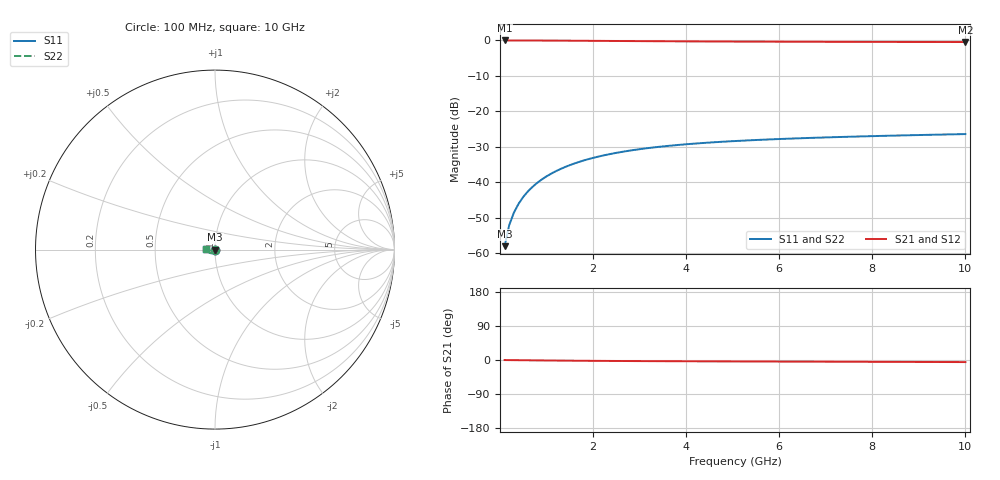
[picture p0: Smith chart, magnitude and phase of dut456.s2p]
! Touchstone file exported from HFSS 2024.1.0
!  File:  C:/UserFiles/LocalFiles/RDL_TSV_Batchsim/temp_TSV1_456_1779696793.aedt
!  Generated:  04:21:04 PM May 25, 2026
!  Design:  TSV1
!  Project:  temp_TSV1_456_1779696793
!  Setup:  Setup1
!  Solution:  Sweep
! Variables:
!  dtsv = 9.71um
!  hbump = 3um
!  htsv = 86.04um
!  lrdl = 252.1521522um
!  p = 40
!  p1 = 50.74um
!  t = 500um
!  trdl = 3um
!  wrdl = 24.89489489um
# GHz S MA R 50.000000
! Terminal data exported
! Port[1] = TSV22_T1
! Port[2] = TSV22_T2
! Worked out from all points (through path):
!   100 points, 100 MHz to 10 GHz, reference 50 ohm
!   highest |S21| = 0.00 dB at 100 MHz (marker M1); lowest = -0.4 dB at 10 GHz (marker M2)
!   lowest |S11| = -58.1 dB at 100 MHz (marker M3), VSWR 1.00, Z = 50 - j0.124 ohm
!   |S11| at or under -10 dB: start of sweep to end of sweep
!   |S22| runs from -58.1 to -26.4 dB; largest |S21 - S12| = 4e-15
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0.1  0.00125 -84.4  0.9998 -0.1  0.9998 -0.1  0.00125 -84.4
! Gamma 0 0 0 0
! Port Impedance 50 0 50 0
0.2  0.002487 -89.8  0.9997 -0.3  0.9997 -0.3  0.002487 -89.8
0.3  0.003725 -92.8  0.9994 -0.4  0.9994 -0.4  0.003725 -92.8
0.4  0.00496 -95.2  0.9992 -0.5  0.9992 -0.5  0.00496 -95.2
0.5  0.006186 -97.4  0.9988 -0.6  0.9988 -0.6  0.006186 -97.4
0.6  0.007399 -99.5  0.9983 -0.8  0.9983 -0.8  0.007399 -99.5
0.7  0.008598 -101.4  0.9978 -0.9  0.9978 -0.9  0.008598 -101.4
0.8  0.009778 -103.4  0.9973 -1.0  0.9973 -1.0  0.009778 -103.4
0.9  0.01094 -105.2  0.9967 -1.1  0.9967 -1.1  0.01094 -105.2
1.1  0.01319 -108.9  0.9953 -1.4  0.9953 -1.4  0.01319 -108.9
1.4  0.01638 -114.1  0.9929 -1.7  0.9929 -1.7  0.01638 -114.1
1.6  0.01837 -117.4  0.9911 -1.9  0.9911 -1.9  0.01837 -117.4
1.8  0.02025 -120.5  0.9893 -2.0  0.9893 -2.0  0.02025 -120.5
2.1  0.02285 -125.0  0.9865 -2.3  0.9865 -2.3  0.02285 -125.0
2.5  0.02593 -130.6  0.9828 -2.6  0.9828 -2.6  0.02593 -130.6
2.9  0.02861 -135.7  0.9792 -2.8  0.9792 -2.8  0.02861 -135.7
3.4  0.03145 -141.5  0.975 -3.1  0.975 -3.1  0.03145 -141.5
4.2  0.03509 -149.5  0.9693 -3.5  0.9693 -3.5  0.03509 -149.5
5.1  0.03821 -157.2  0.9642 -3.8  0.9642 -3.8  0.03821 -157.2
6.7  0.04221 -168.3  0.9576 -4.4  0.9576 -4.4  0.04221 -168.3
8.4  0.04532 -177.8  0.9531 -4.9  0.9531 -4.9  0.04532 -177.8
10  0.04773 174.7  0.9501 -5.5  0.9501 -5.5  0.04773 174.7
